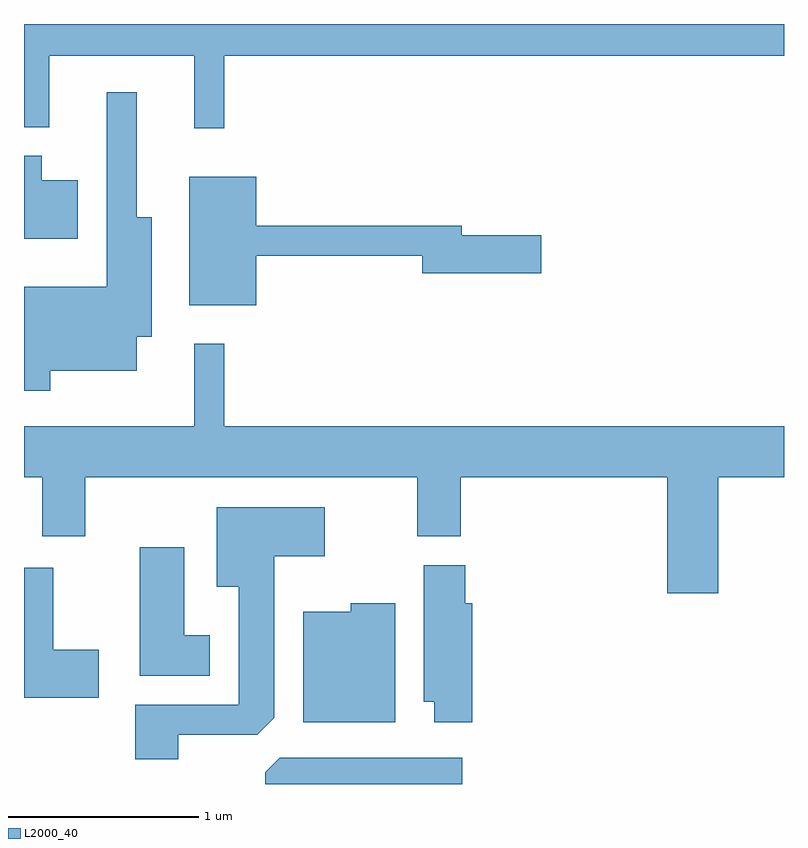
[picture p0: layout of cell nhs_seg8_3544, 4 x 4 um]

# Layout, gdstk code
import gdstk
lib = gdstk.Library(unit=1e-6, precision=1e-09)
def P(c, l, *ps):  # polygons
    for p in ps: c.add(gdstk.Polygon(p, *l))
L2000_40 = (2000, 40)

nhs_seg8_3544 = lib.new_cell('nhs_seg8_3544')
P(nhs_seg8_3544, L2000_40, [(292.664,1854.176),(295.611,1854.176),(295.611,1854.342),(291.611,1854.342),(291.611,1853.798),(291.744,1853.798),(291.744,1854.176),(292.506,1854.176),(292.506,1853.793),(292.664,1853.793)],
  [(291.749,1852.516),(292.204,1852.516),(292.204,1852.696),(292.284,1852.696),(292.284,1853.324),(292.204,1853.324),(292.204,1853.983),(292.046,1853.983),(292.046,1852.959),(291.611,1852.959),(291.611,1852.413),(291.749,1852.413)],
  [(291.894,1853.519),(291.704,1853.519),(291.704,1853.649),(291.611,1853.649),(291.611,1853.211),(291.894,1853.211)],
  [(292.834,1853.121),(293.706,1853.121),(293.706,1853.031),(294.334,1853.031),(294.334,1853.229),(293.914,1853.229),(293.914,1853.279),(292.834,1853.279),(292.834,1853.539),(292.481,1853.539),(292.481,1852.861),(292.834,1852.861)],
  [(295.264,1851.956),(295.611,1851.956),(295.611,1852.224),(292.664,1852.224),(292.664,1852.658),(292.506,1852.658),(292.506,1852.224),(291.611,1852.224),(291.611,1851.956),(291.706,1851.956),(291.706,1851.646),(291.934,1851.646),(291.934,1851.956),(293.681,1851.956),(293.681,1851.646),(293.909,1851.646),(293.909,1851.956),(294.996,1851.956),(294.996,1851.346),(295.264,1851.346)],
  [(292.424,1850.601),(292.839,1850.601),(292.929,1850.692),(292.929,1851.541),(293.194,1851.541),(293.194,1851.799),(292.626,1851.799),(292.626,1851.381),(292.741,1851.381),(292.741,1850.759),(292.196,1850.759),(292.196,1850.471),(292.424,1850.471)],
  [(292.589,1851.124),(292.454,1851.124),(292.454,1851.589),(292.221,1851.589),(292.221,1850.911),(292.589,1850.911)],
  [(293.969,1851.294),(293.934,1851.294),(293.934,1851.494),(293.716,1851.494),(293.716,1850.776),(293.771,1850.776),(293.771,1850.666),(293.969,1850.666)],
  [(292.004,1851.049),(291.764,1851.049),(291.764,1851.479),(291.611,1851.479),(291.611,1850.796),(292.004,1850.796)],
  [(293.564,1851.294),(293.331,1851.294),(293.331,1851.249),(293.081,1851.249),(293.081,1850.666),(293.564,1850.666)],
  [(293.918,1850.479),(292.957,1850.479),(292.881,1850.404),(292.881,1850.342),(293.918,1850.342)])

lib.write_gds('nhs_seg8_3544.gds')
